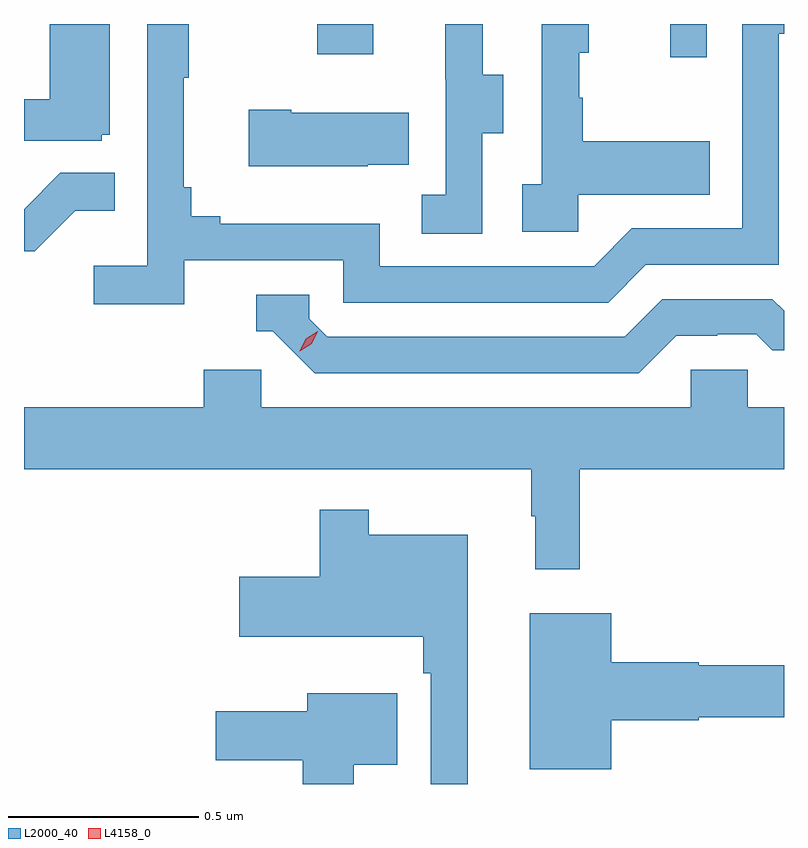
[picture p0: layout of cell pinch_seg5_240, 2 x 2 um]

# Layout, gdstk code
import gdstk
lib = gdstk.Library(unit=1e-6, precision=1e-09)
def R(c, l, rs):  # rectangles x0, y0, x1, y1
    for r in rs: c.add(gdstk.rectangle(r[:2], r[2:], *l))
def P(c, l, *ps):  # polygons
    for p in ps: c.add(gdstk.Polygon(p, *l))
L2000_40 = (2000, 40)
L4158_0 = (4158, 0)

pinch_seg5_240 = lib.new_cell('pinch_seg5_240')
R(pinch_seg5_240, L2000_40, [(966.398,904.464,966.495,904.552), (965.47,904.473,965.617,904.552)])
P(pinch_seg5_240, L2000_40, [(965.904,904.264),(965.959,904.264),(965.959,904.419),(965.905,904.419),(965.905,904.552),(965.807,904.552),(965.807,904.407),(965.808,904.407),(965.808,904.103),(965.745,904.103),(965.745,904),(965.904,904)],
  [(965.12,903.93),(965.538,903.93),(965.538,903.819),(966.235,903.819),(966.334,903.918),(966.684,903.918),(966.684,904.527),(966.698,904.527),(966.698,904.552),(966.588,904.552),(966.588,904.014),(966.297,904.014),(966.198,903.915),(965.634,903.915),(965.634,904.027),(965.215,904.027),(965.215,904.046),(965.138,904.046),(965.138,904.123),(965.119,904.123),(965.119,904.411),(965.131,904.411),(965.131,904.552),(965.022,904.552),(965.022,903.916),(964.881,903.916),(964.881,903.814),(965.12,903.814)],
  [(964.902,904.26),(964.924,904.26),(964.924,904.552),(964.766,904.552),(964.766,904.354),(964.698,904.354),(964.698,904.245),(964.902,904.245)],
  [(966.156,904.103),(966.503,904.103),(966.503,904.243),(966.169,904.243),(966.169,904.358),(966.159,904.358),(966.159,904.476),(966.184,904.476),(966.184,904.552),(966.06,904.552),(966.06,904.13),(966.009,904.13),(966.009,904.005),(966.156,904.005)],
  [(965.603,904.181),(965.711,904.181),(965.711,904.318),(965.401,904.318),(965.401,904.326),(965.289,904.326),(965.289,904.178),(965.603,904.178)],
  [(964.833,904.061),(964.937,904.061),(964.937,904.16),(964.793,904.16),(964.698,904.065),(964.698,903.954),(964.726,903.954)],
  [(966.415,903.732),(966.522,903.732),(966.522,903.735),(966.625,903.735),(966.667,903.693),(966.698,903.693),(966.698,903.797),(966.667,903.828),(966.378,903.828),(966.279,903.729),(965.496,903.729),(965.448,903.777),(965.448,903.84),(965.309,903.84),(965.309,903.744),(965.352,903.744),(965.463,903.633),(966.316,903.633)],
  [(966.161,903.38),(966.698,903.38),(966.698,903.544),(966.603,903.544),(966.603,903.642),(966.453,903.642),(966.453,903.544),(965.322,903.544),(965.322,903.642),(965.171,903.642),(965.171,903.544),(964.698,903.544),(964.698,903.38),(966.033,903.38),(966.033,903.257),(966.044,903.257),(966.044,903.117),(966.161,903.117)],
  [(965.866,903.208),(965.605,903.208),(965.605,903.274),(965.476,903.274),(965.476,903.097),(965.265,903.097),(965.265,902.939),(965.749,902.939),(965.749,902.843),(965.769,902.843),(965.769,902.552),(965.866,902.552)],
  [(966.244,902.72),(966.474,902.72),(966.474,902.728),(966.698,902.728),(966.698,902.864),(966.474,902.864),(966.474,902.872),(966.244,902.872),(966.244,903.001),(966.029,903.001),(966.029,902.591),(966.244,902.591)],
  [(965.566,902.603),(965.68,902.603),(965.68,902.791),(965.444,902.791),(965.444,902.743),(965.202,902.743),(965.202,902.614),(965.432,902.614),(965.432,902.552),(965.566,902.552)])
P(pinch_seg5_240, L4158_0, [(965.424,903.691),(965.424,903.691),(965.44,903.724),(965.471,903.744),(965.471,903.744),(965.471,903.744),(965.455,903.711),(965.424,903.691)])

lib.write_gds('pinch_seg5_240.gds')
